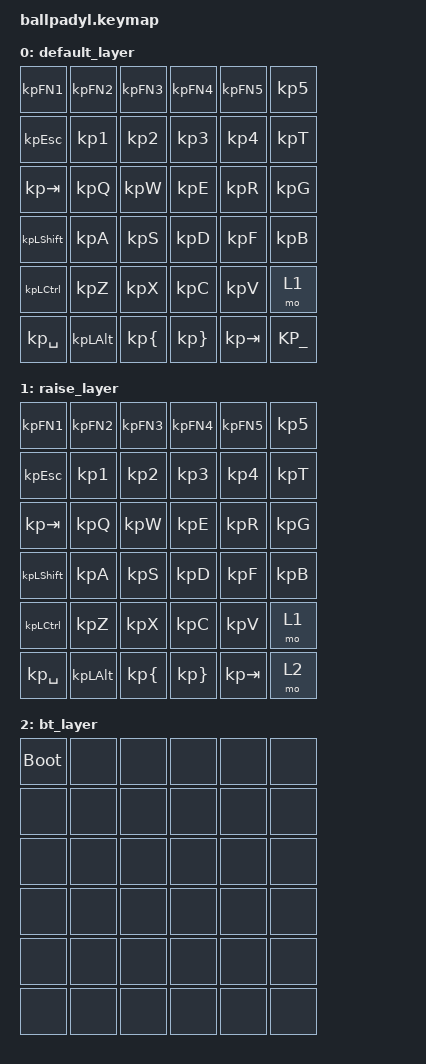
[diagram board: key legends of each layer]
#include <behaviours.dtsi>
#include <dt-bindings/zmk/keys.h>
#include <dt-bindings/zmk/bt.h>

/ {
    keymap {
        compatible = "zmk,keymap";

        default_layer {
            bindings = <
                &kp KP_FN1      &kp KP_FN2    &kp KP_FN3    &kp KP_FN4    &kp KP_FN5    &kp KP_N5
                &kp KP_ESC      &kp KP_N1     &kp KP_N2     &kp KP_N3     &kp KP_N4     &kp KP_T
                &kp KP_TAB      &kp KP_Q      &kp KP_W      &kp KP_E      &kp KP_R      &kp KP_G
                &kp KP_LSHFT    &kp KP_A      &kp KP_S      &kp KP_D      &kp KP_F      &kp KP_B
                &kp KP_LCTRL    &kp KP_Z      &kp KP_X      &kp KP_C      &kp KP_V      &mo 1
                &kp KP_SPACE    &kp KP_LALT   &kp KP_LBRC   &kp KP_RBRC   &kp KP_TAB    &kp KP_
            >;
        };

        raise_layer {
            bindings = <
                &kp KP_FN1      &kp KP_FN2    &kp KP_FN3    &kp KP_FN4    &kp KP_FN5    &kp KP_N5
                &kp KP_ESC      &kp KP_N1     &kp KP_N2     &kp KP_N3     &kp KP_N4     &kp KP_T
                &kp KP_TAB      &kp KP_Q      &kp KP_W      &kp KP_E      &kp KP_R      &kp KP_G
                &kp KP_LSHFT    &kp KP_A      &kp KP_S      &kp KP_D      &kp KP_F      &kp KP_B
                &kp KP_LCTRL    &kp KP_Z      &kp KP_X      &kp KP_C      &kp KP_V      &mo 1
                &kp KP_SPACE    &kp KP_LALT   &kp KP_LBRC   &kp KP_RBRC   &kp KP_TAB    &mo 2
            >;
        };

        bt_layer {
            bindings = <
                &bootloader     &none         &none         &none         &none         &none
                &none           &none         &none         &none         &none         &none
                &none           &none         &none         &none         &none         &none
                &none           &none         &none         &none         &none         &none
                &none           &none         &none         &none         &none         &none
                &none           &none         &none         &none         &none         &none
                
            >;
        };
    }
}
